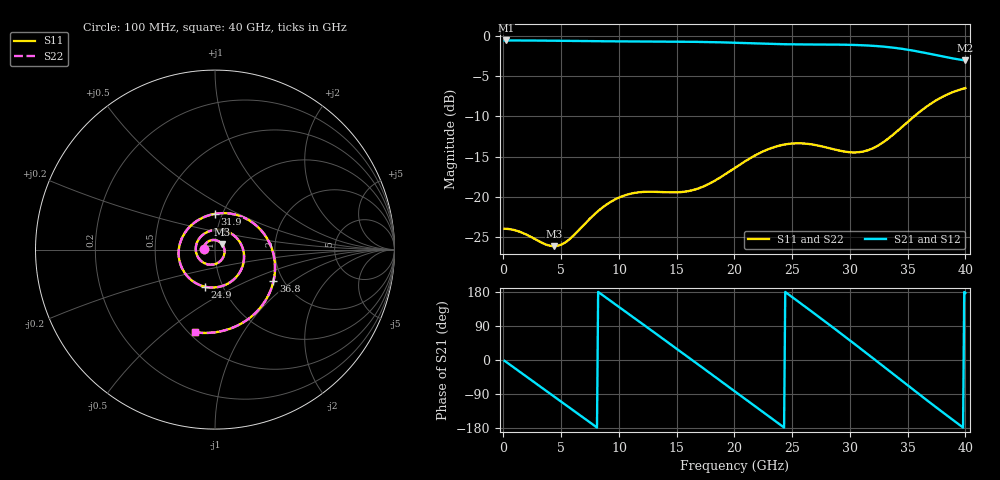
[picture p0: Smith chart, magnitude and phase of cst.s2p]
! A_s4_d200_ap800: L1→L4 through L2/L3, drill Ø0.2, antipad Ø0.8, 4 GND vias at 1 mm
! stackup: 4-layer 1.6 mm FR-4
! ports: 1, 2
! CST Studio Suite 2025.5 Release from 2025-05-30, time domain (FIT, hexahedral, PBA), 136400 mesh cells, 30 s
! mesh: {'lpw': 20, 'lpb': 20, 'minstep': 0.0, 'ratio': 20}; ports: port 1 (face); port 2 (face)
! interpolated from CST's 1001 samples to the case grid
# Hz S RI R 50
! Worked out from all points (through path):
!   400 points, 100 MHz to 40 GHz, reference 50 ohm
!   highest |S21| = -0.57 dB at 200 MHz (marker M1); lowest = -3.1 dB at 40 GHz (marker M2)
!   group delay of S21, straight-line fit = 62.6 ps
!   lowest |S11| = -26.1 dB at 4.4 GHz (marker M3), VSWR 1.10, Z = 53.8 + j3.41 ohm
!   |S11| at or under -10 dB: start of sweep to 35.56 GHz
!   |S22| runs from -26.1 to -6.5 dB; largest |S21 - S12| = 4e-07
!   S11 on the Smith chart (normalised r, x): 100 MHz: 0.88, +0.01; 24.9 GHz: 0.82, -0.36; 31.9 GHz: 0.92, +0.38; 36.8 GHz: 1.78, -0.73; 40 GHz: 0.54, -0.64
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1e8  -0.0634 0.00297  0.9356 -0.036  0.9356 -0.036  -0.0634 0.00297
2e8  -0.0632 0.00593  0.9335 -0.0719  0.9335 -0.0719  -0.0632 0.00593
2.5e9  -0.018 0.0529  0.5358 -0.7664  0.5358 -0.7664  -0.018 0.0529
4.4e9  0.0381 0.0316  -0.1114 -0.9261  -0.1114 -0.9261  0.0381 0.0316
6.8e9  0.0412 -0.0506  -0.8008 -0.4697  -0.8008 -0.4697  0.0412 -0.0506
9.6e9  -0.0586 -0.076  -0.7918 0.4774  -0.7918 0.4774  -0.0586 -0.076
1.16e10  -0.1058 -0.0128  -0.2369 0.8923  -0.2369 0.8923  -0.1058 -0.0128
1.34e10  -0.092 0.0556  0.3883 0.8362  0.3883 0.8362  -0.092 0.0556
1.51e10  -0.0438 0.0975  0.8172 0.4232  0.8172 0.4232  -0.0438 0.0975
1.66e10  0.0128 0.1106  0.9129 -0.0964  0.9129 -0.0964  0.0128 0.1105
1.85e10  0.0952 0.0864  0.6049 -0.6835  0.6049 -0.6835  0.0952 0.0864
2.01e10  0.1517 0.0152  0.0898 -0.9015  0.0898 -0.9015  0.1517 0.0151
2.28e10  0.1066 -0.1646  -0.7282 -0.5162  -0.7282 -0.5162  0.1065 -0.1647
2.49e10  -0.0576 -0.2064  -0.8676 0.1789  -0.8676 0.1789  -0.0577 -0.2064
2.67e10  -0.1779 -0.1151  -0.541 0.6991  -0.541 0.6991  -0.178 -0.115
2.91e10  -0.1783 0.0761  0.2626 0.8419  0.2626 0.8419  -0.1783 0.0761
3.19e10  -0.000333 0.1992  0.8617 0.1059  0.8617 0.1059  -0.000278 0.1992
3.34e10  0.1376 0.1877  0.7459 -0.4082  0.7459 -0.4082  0.1377 0.1877
3.51e10  0.2891 0.0639  0.2901 -0.7651  0.2901 -0.7651  0.2892 0.0639
3.68e10  0.3257 -0.1764  -0.2573 -0.7323  -0.2573 -0.7323  0.3257 -0.1764
3.84e10  0.1738 -0.395  -0.6125 -0.4075  -0.6125 -0.4075  0.1738 -0.395
4e10  -0.1099 -0.4609  -0.7029 0.0355  -0.7029 0.0355  -0.1099 -0.4609
